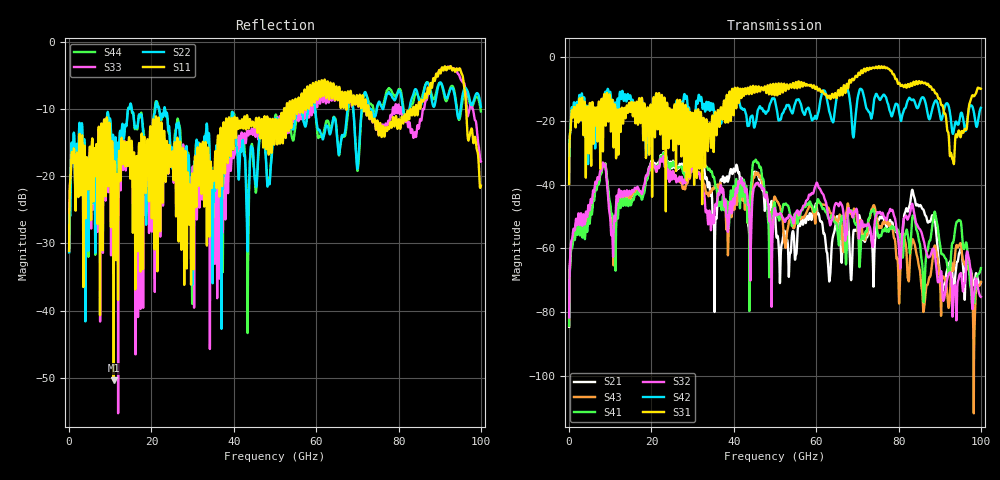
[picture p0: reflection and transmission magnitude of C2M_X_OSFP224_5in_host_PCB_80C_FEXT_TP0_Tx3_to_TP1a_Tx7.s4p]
# GHz S RI R 45
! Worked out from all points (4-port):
!   4000 points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, 25 MHz to 100 GHz, reference 45 ohm
!   strongest paths, dB at 25 MHz, 25.02 GHz, 50.02 GHz, 75.03 GHz, 100 GHz:
!     S31: -39.8, -16.5, -10.4, -3.2, -9.9
!     S42: -39.3, -21.6, -13.7, -12.5, -15.9
!     S32: -81.7, -37.9, -47.7, -48.8, -75.2
!     S41: -84.4, -34.3, -46.6, -55.9, -66.2
!     S43: -82.7, -37.3, -44.0, -52.4, -70.5
!     S21: -84.6, -34.7, -49.2, -51.3, -70.8
!   lowest |S11| = -50.3 dB at 10.85 GHz (marker M1), VSWR 1.01, Z = 45.2 - j0.165 ohm
!   |S11| at or under -10 dB: start of sweep to 52.23 GHz; 72.75 GHz to 82.91 GHz (10.16 GHz wide, 13.1 % of centre); 96.44 GHz to end of sweep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
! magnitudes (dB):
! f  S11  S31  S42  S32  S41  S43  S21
! 25 MHz  -31.1  -39.8  -39.3  -81.7  -84.4  -82.7  -84.6
! 8.4 GHz  -13.3  -14.5  -12.9  -33.9  -34.0  -33.9  -34.0
! 10.85 GHz  -50.3  -27.8  -16.9  -53.2  -60.6  -63.6  -59.2
! 30.55 GHz  -17.3  -19.0  -19.5  -35.0  -31.7  -35.2  -31.6
! 76.2 GHz  -12.5  -3.5  -12.1  -49.0  -54.2  -51.9  -49.9
! 93.08 GHz  -4.3  -32.1  -23.6  -78.6  -58.2  -65.0  -68.1
! 100 GHz  -21.4  -9.9  -15.9  -75.2  -66.2  -70.5  -70.8
